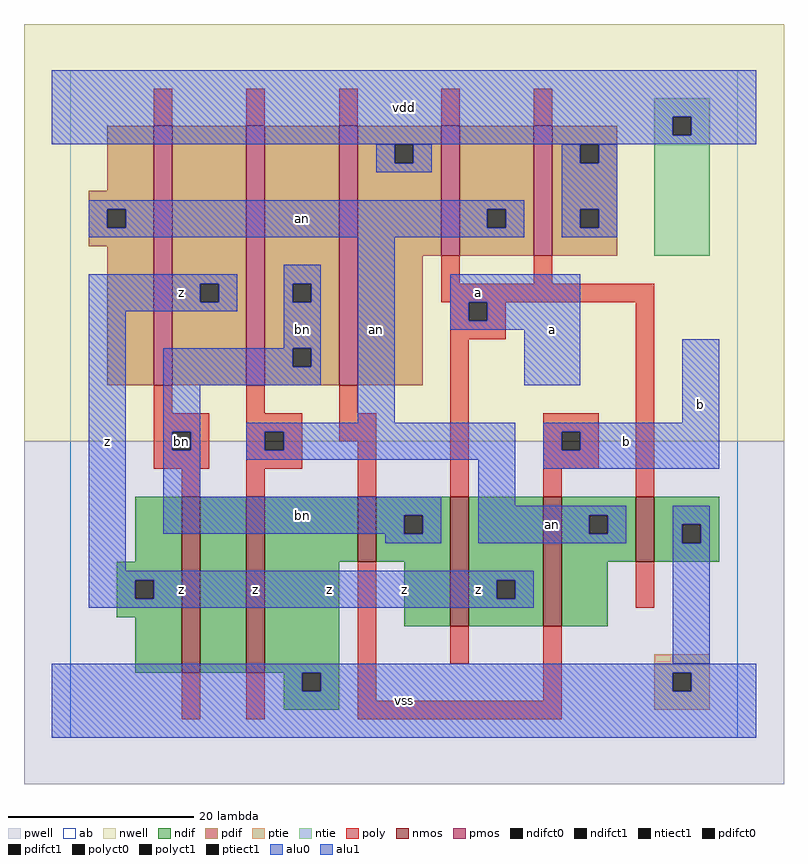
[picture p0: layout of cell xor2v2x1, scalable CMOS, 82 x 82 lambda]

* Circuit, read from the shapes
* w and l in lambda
.subckt xor2v2x1 a an b bn vdd vss z
M1 n1 bn z vss nfet w=19 l=2
M2 vss an n1 vss nfet w=19 l=2
M3 bn b vss vss nfet w=7 l=2
M4 z a bn vss nfet w=14 l=2
M5 an b z vss nfet w=14 l=2
M6 vss a an vss nfet w=7 l=2
M7 z bn an vdd pfet w=28 l=2
M8 bn an z vdd pfet w=28 l=2
M9 vdd b bn vdd pfet w=28 l=2
M10 an a vdd vdd pfet w=14 l=2 m=2
.ends

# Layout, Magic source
magic
tech scmos
<< ab >>
rect 0 0 72 72
<< nwell >>
rect -5 32 77 77
<< pwell >>
rect -5 -5 77 32
<< poly >>
rect 9 66 11 70
rect 19 66 21 70
rect 29 66 31 70
rect 40 66 42 70
rect 50 66 52 70
rect 40 49 42 52
rect 50 49 52 52
rect 40 47 63 49
rect 41 45 43 47
rect 45 45 47 47
rect 41 43 47 45
rect 9 35 11 38
rect 19 35 21 38
rect 29 35 31 38
rect 9 33 15 35
rect 9 31 11 33
rect 13 31 15 33
rect 9 29 15 31
rect 19 33 25 35
rect 19 31 21 33
rect 23 31 25 33
rect 29 32 33 35
rect 19 29 25 31
rect 12 26 14 29
rect 19 26 21 29
rect 31 26 33 32
rect 41 26 43 43
rect 51 33 57 35
rect 51 31 53 33
rect 55 31 57 33
rect 51 29 57 31
rect 51 26 53 29
rect 61 26 63 47
rect 12 2 14 7
rect 19 2 21 7
rect 31 4 33 19
rect 61 14 63 19
rect 41 8 43 12
rect 51 4 53 12
rect 31 2 53 4
<< ndif >>
rect 7 19 12 26
rect 5 17 12 19
rect 5 15 7 17
rect 9 15 12 17
rect 5 13 12 15
rect 7 7 12 13
rect 14 7 19 26
rect 21 19 31 26
rect 33 24 41 26
rect 33 22 36 24
rect 38 22 41 24
rect 33 19 41 22
rect 21 7 29 19
rect 23 5 25 7
rect 27 5 29 7
rect 23 3 29 5
rect 36 12 41 19
rect 43 17 51 26
rect 43 15 46 17
rect 48 15 51 17
rect 43 12 51 15
rect 53 24 61 26
rect 53 22 56 24
rect 58 22 61 24
rect 53 19 61 22
rect 63 23 70 26
rect 63 21 66 23
rect 68 21 70 23
rect 63 19 70 21
rect 53 12 58 19
<< pdif >>
rect 4 59 9 66
rect 2 57 9 59
rect 2 55 4 57
rect 6 55 9 57
rect 2 53 9 55
rect 4 38 9 53
rect 11 49 19 66
rect 11 47 14 49
rect 16 47 19 49
rect 11 38 19 47
rect 21 49 29 66
rect 21 47 24 49
rect 26 47 29 49
rect 21 42 29 47
rect 21 40 24 42
rect 26 40 29 42
rect 21 38 29 40
rect 31 64 40 66
rect 31 62 35 64
rect 37 62 40 64
rect 31 52 40 62
rect 42 57 50 66
rect 42 55 45 57
rect 47 55 50 57
rect 42 52 50 55
rect 52 64 59 66
rect 52 62 55 64
rect 57 62 59 64
rect 52 57 59 62
rect 52 55 55 57
rect 57 55 59 57
rect 52 52 59 55
rect 31 38 38 52
<< alu1 >>
rect -2 67 74 72
rect -2 65 65 67
rect 67 65 74 67
rect -2 64 74 65
rect 2 49 18 50
rect 2 47 14 49
rect 16 47 18 49
rect 2 46 18 47
rect 2 18 6 46
rect 41 47 55 50
rect 41 45 43 47
rect 45 45 55 47
rect 41 44 55 45
rect 49 38 55 44
rect 66 34 70 43
rect 51 33 70 34
rect 51 31 53 33
rect 55 31 70 33
rect 51 29 70 31
rect 2 17 50 18
rect 2 15 7 17
rect 9 15 46 17
rect 48 15 50 17
rect 2 14 50 15
rect -2 7 74 8
rect -2 5 25 7
rect 27 5 65 7
rect 67 5 74 7
rect -2 0 74 5
<< ptie >>
rect 63 7 69 9
rect 63 5 65 7
rect 67 5 69 7
rect 63 3 69 5
<< ntie >>
rect 63 67 69 69
rect 63 65 65 67
rect 67 65 69 67
rect 63 52 69 65
<< nmos >>
rect 12 7 14 26
rect 19 7 21 26
rect 31 19 33 26
rect 41 12 43 26
rect 51 12 53 26
rect 61 19 63 26
<< pmos >>
rect 9 38 11 66
rect 19 38 21 66
rect 29 38 31 66
rect 40 52 42 66
rect 50 52 52 66
<< polyct0 >>
rect 11 31 13 33
rect 21 31 23 33
<< polyct1 >>
rect 43 45 45 47
rect 53 31 55 33
<< ndifct0 >>
rect 36 22 38 24
rect 56 22 58 24
rect 66 21 68 23
<< ndifct1 >>
rect 7 15 9 17
rect 25 5 27 7
rect 46 15 48 17
<< ntiect1 >>
rect 65 65 67 67
<< ptiect1 >>
rect 65 5 67 7
<< pdifct0 >>
rect 4 55 6 57
rect 24 47 26 49
rect 24 40 26 42
rect 35 62 37 64
rect 45 55 47 57
rect 55 62 57 64
rect 55 55 57 57
<< pdifct1 >>
rect 14 47 16 49
<< alu0 >>
rect 33 62 35 64
rect 37 62 39 64
rect 33 61 39 62
rect 53 62 55 64
rect 57 62 59 64
rect 2 57 49 58
rect 2 55 4 57
rect 6 55 45 57
rect 47 55 49 57
rect 2 54 49 55
rect 53 57 59 62
rect 53 55 55 57
rect 57 55 59 57
rect 53 54 59 55
rect 23 49 27 51
rect 23 47 24 49
rect 26 47 27 49
rect 23 42 27 47
rect 10 40 24 42
rect 26 40 27 42
rect 10 38 27 40
rect 10 33 14 38
rect 31 34 35 54
rect 10 31 11 33
rect 13 31 14 33
rect 10 26 14 31
rect 19 33 48 34
rect 19 31 21 33
rect 23 31 48 33
rect 19 30 48 31
rect 10 24 40 26
rect 10 22 36 24
rect 38 22 40 24
rect 34 21 40 22
rect 44 25 48 30
rect 44 24 60 25
rect 44 22 56 24
rect 58 22 60 24
rect 44 21 60 22
rect 65 23 69 25
rect 65 21 66 23
rect 68 21 69 23
rect 65 8 69 21
<< labels >>
rlabel polyct0 12 32 12 32 6 bn
rlabel alu0 25 44 25 44 6 bn
rlabel alu0 25 24 25 24 6 bn
rlabel alu0 25 56 25 56 6 an
rlabel alu0 33 44 33 44 6 an
rlabel alu0 52 23 52 23 6 an
rlabel alu1 12 16 12 16 6 z
rlabel alu1 4 32 4 32 6 z
rlabel alu1 12 48 12 48 6 z
rlabel alu1 28 16 28 16 6 z
rlabel alu1 20 16 20 16 6 z
rlabel alu1 36 4 36 4 6 vss
rlabel alu1 44 16 44 16 6 z
rlabel alu1 36 16 36 16 6 z
rlabel alu1 44 48 44 48 6 a
rlabel alu1 52 44 52 44 6 a
rlabel alu1 36 68 36 68 6 vdd
rlabel alu1 60 32 60 32 6 b
rlabel alu1 68 36 68 36 6 b
<< end >>
